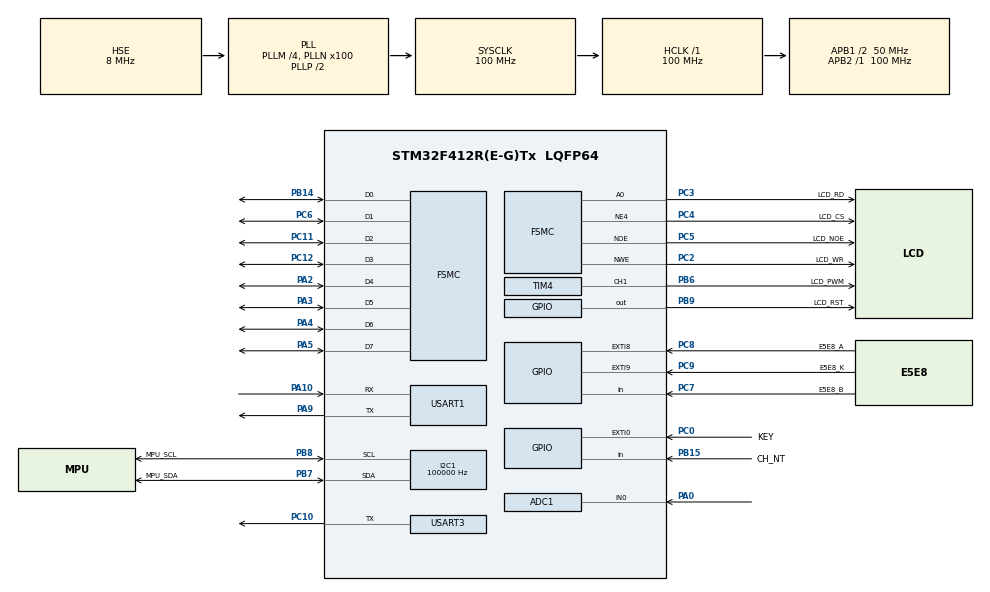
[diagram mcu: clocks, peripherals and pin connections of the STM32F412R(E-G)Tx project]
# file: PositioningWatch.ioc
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ADC1.Channel-0\#ChannelRegularConversion=ADC_CHANNEL_0
ADC1.NbrOfConversion=1
ADC1.NbrOfConversionFlag=1
ADC1.Rank-0\#ChannelRegularConversion=1
ADC1.SamplingTime-0\#ChannelRegularConversion=ADC_SAMPLETIME_3CYCLES
ADC1.master=1
FREERTOS.Tasks01=defaultTask,24,128,StartDefaultTask,Default,NULL,Dynamic,NULL,NULL;SysStatusTask,24,256,SysStatusTask_Func,As weak,NULL,Dynamic,NULL,NULL;NordicComTask,8,256,NordicTask,Default,NULL,Dynamic,NULL,NULL;LittleVGLTask,40,2048,LittleVGLTaskFunc,Default,NULL,Dynamic,NULL,NULL;KeyGetTask,40,128,KeyGetTaskFunc,Default,NULL,Dynamic,NULL,NULL;MPU6050Test,8,256,MPU6050TestFunc,Default,NULL,Dynamic,NULL,NULL
FREERTOS.configENABLE_FPU=1
FREERTOS.configIDLE_SHOULD_YIELD=1
FREERTOS.configLIBRARY_MAX_SYSCALL_INTERRUPT_PRIORITY=5
FREERTOS.configTICK_RATE_HZ=250
FREERTOS.configUSE_PREEMPTION=0
FSMC.AddressSetupTime1=0
FSMC.BusTurnAroundDuration1=2
FSMC.DataSetupTime1=2
FSMC.ExtendedMode1=FSMC_EXTENDED_MODE_DISABLE
I2C1.ClockSpeed=100000
I2C1.I2C_Mode=I2C_Standard
I2C1.NoStretchMode=I2C_NOSTRETCH_DISABLE
Mcu.Family=STM32F4
Mcu.Name=STM32F412R(E-G)Tx
Mcu.Package=LQFP64
NVIC.EXTI0_IRQn=true\:5\:0\:false\:false\:true\:true\:true\:true
NVIC.EXTI9_5_IRQn=true\:5\:0\:false\:false\:true\:true\:true\:true
NVIC.PriorityGroup=NVIC_PRIORITYGROUP_4
NVIC.TIM1_UP_TIM10_IRQn=true\:4\:0\:true\:false\:true\:false\:false\:true
NVIC.TimeBase=TIM1_UP_TIM10_IRQn
NVIC.TimeBaseIP=TIM1
NVIC.USART1_IRQn=true\:5\:0\:false\:false\:true\:true\:true\:true
PA0.Signal=ADCx_IN0
PA10.Mode=Asynchronous
PA10.Signal=USART1_RX
PA13.Mode=Serial_Wire
PA13.Signal=SYS_JTMS-SWDIO
PA14.Mode=Serial_Wire
PA14.Signal=SYS_JTCK-SWCLK
PA2.Mode=8b-d1
PA2.Signal=FSMC_D4
PA3.Mode=8b-d1
PA3.Signal=FSMC_D5
PA4.Mode=8b-d1
PA4.Signal=FSMC_D6
PA5.Mode=8b-d1
PA5.Signal=FSMC_D7
PA9.Mode=Asynchronous
PA9.Signal=USART1_TX
PB14.Mode=8b-d1
PB14.Signal=FSMC_D0
PB15.GPIO_Label=CH_NT
PB15.Signal=GPIO_Input
PB6.GPIO_Label=LCD_PWM
PB6.Signal=S_TIM4_CH1
PB7.GPIO_Label=MPU_SDA
PB7.GPIO_Pu=GPIO_PULLUP
PB7.Mode=I2C
PB7.Signal=I2C1_SDA
PB8.GPIO_Label=MPU_SCL
PB8.GPIO_Pu=GPIO_PULLUP
PB8.Mode=I2C
PB8.Signal=I2C1_SCL
PB9.GPIO_Label=LCD_RST
PB9.GPIO_PuPd=GPIO_PULLUP
PB9.GPIO_Speed=GPIO_SPEED_FREQ_HIGH
PB9.PinState=GPIO_PIN_SET
PB9.Signal=GPIO_Output
PC0.GPIO_Label=KEY
PC0.GPIO_ModeDefaultEXTI=GPIO_MODE_IT_FALLING
PC0.GPIO_PuPd=GPIO_PULLUP
PC0.Signal=GPXTI0
PC10.Mode=Half_duplex(single_wire_mode)
PC10.Signal=USART3_TX
PC11.Mode=8b-d1
PC11.Signal=FSMC_D2
PC12.Mode=8b-d1
PC12.Signal=FSMC_D3
PC14-OSC32_IN.Mode=LSE-External-Oscillator
PC14-OSC32_IN.Signal=RCC_OSC32_IN
PC15-OSC32_OUT.Mode=LSE-External-Oscillator
PC15-OSC32_OUT.Signal=RCC_OSC32_OUT
PC2.GPIO_Label=LCD_WR
PC2.Mode=Lcd1
PC2.Signal=FSMC_NWE
PC3.GPIO_Label=LCD_RD
PC3.Mode=A0_1
PC3.Signal=FSMC_A0
PC4.GPIO_Label=LCD_CS
PC4.Mode=NorPsramChipSelect4_1
PC4.Signal=FSMC_NE4
PC5.GPIO_Label=LCD_NOE
PC5.Mode=Lcd1
PC5.Signal=FSMC_NOE
PC6.Mode=8b-d1
PC6.Signal=FSMC_D1
PC7.GPIO_Label=E5E8_B
PC7.GPIO_PuPd=GPIO_PULLUP
PC7.Signal=GPIO_Input
PC8.GPIO_Label=E5E8_A
PC8.GPIO_ModeDefaultEXTI=GPIO_MODE_IT_FALLING
PC8.GPIO_PuPd=GPIO_PULLUP
PC8.Signal=GPXTI8
PC9.GPIO_Label=E5E8_K
PC9.GPIO_ModeDefaultEXTI=GPIO_MODE_IT_FALLING
PC9.GPIO_PuPd=GPIO_PULLUP
PC9.Signal=GPXTI9
PH0\ -\ OSC_IN.Mode=HSE-External-Oscillator
PH0\ -\ OSC_IN.Signal=RCC_OSC_IN
PH1\ -\ OSC_OUT.Mode=HSE-External-Oscillator
PH1\ -\ OSC_OUT.Signal=RCC_OSC_OUT
ProjectManager.HeapSize=0x1000
ProjectManager.StackSize=0x1000
ProjectManager.TargetToolchain=MDK-ARM V5.32
RCC.AHBFreq_Value=100000000
RCC.APB1CLKDivider=RCC_HCLK_DIV2
RCC.APB1Freq_Value=50000000
RCC.APB1TimFreq_Value=100000000
RCC.APB2Freq_Value=100000000
RCC.APB2TimFreq_Value=100000000
RCC.CortexFreq_Value=100000000
RCC.HCLKFreq_Value=100000000
RCC.HSE_VALUE=8000000
RCC.PLLM=4
RCC.PLLN=100
RCC.PLLSourceVirtual=RCC_PLLSOURCE_HSE
RCC.SYSCLKFreq_VALUE=100000000
RCC.SYSCLKSource=RCC_SYSCLKSOURCE_PLLCLK
RCC.USBFreq_Value=100000000
RCC.VCOOutputFreq_Value=200000000
SH.ADCx_IN0.0=ADC1_IN0,IN0
SH.S_TIM4_CH1.0=TIM4_CH1,PWM Generation1 CH1
TIM4.AutoReloadPreload=TIM_AUTORELOAD_PRELOAD_DISABLE
TIM4.Channel-PWM\ Generation1\ CH1=TIM_CHANNEL_1
TIM4.OC1Preload_PWM=DISABLE
TIM4.Period=499
TIM4.Prescaler=99
TIM4.Pulse-PWM\ Generation1\ CH1=249
USART1.VirtualMode=VM_ASYNC
USART3.BaudRate=115200
USART3.Mode=MODE_TX
USART3.VirtualMode=VM_ASYNC
VP_FREERTOS_VS_CMSIS_V2.Mode=CMSIS_V2
VP_SYS_VS_tim1.Mode=TIM1
board=custom

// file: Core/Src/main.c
/* USER CODE BEGIN Header */
/**
  ******************************************************************************
  * @file           : main.c
  * @brief          : Main program body
  ******************************************************************************
  * @attention
  *
  * Copyright (c) 2022 STMicroelectronics.
  * All rights reserved.
  *
  * This software is licensed under terms that can be found in the LICENSE file
  * in the root directory of this software component.
  * If no LICENSE file comes with this software, it is provided AS-IS.
  *
  ******************************************************************************
  */
/* USER CODE END Header */
#include "main.h"
#include "cmsis_os.h"
#include "adc.h"
#include "i2c.h"
#include "tim.h"
#include "usart.h"
#include "gpio.h"
#include "fsmc.h"

/* USER CODE BEGIN Includes */
#include "stdio.h"
#include "lcd.h"
#include "lvgl.h"
#include "mpu6050.h"
/* USER CODE END Includes */

void SystemClock_Config(void);
void MX_FREERTOS_Init(void);

int main(void)
{

    /* MCU Configuration--------------------------------------------------------*/

    /* Reset of all peripherals, Initializes the Flash interface and the Systick. */
    HAL_Init();

    /* Configure the system clock */
    SystemClock_Config();

    /* Initialize all configured peripherals */
    MX_GPIO_Init();
    MX_ADC1_Init();
    MX_USART3_UART_Init();
    MX_USART1_UART_Init();
    MX_FSMC_Init();
    MX_TIM4_Init();
    MX_I2C1_Init();
    /* USER CODE BEGIN 2 */

    HAL_Delay(10);
    uart_data.len = 0;
    UART_Start_Receive_IT(&huart1, uart_data.data, 1);
    HAL_TIM_PWM_Start(&htim4, TIM_CHANNEL_1);
    HAL_Delay(100);
    LCD_Init();

    /* USER CODE END 2 */

    /* Init scheduler */
    osKernelInitialize();  /* Call init function for freertos objects (in freertos.c) */
    MX_FREERTOS_Init();
    /* Start scheduler */
    osKernelStart();

    /* We should never get here as control is now taken by the scheduler */
    /* Infinite loop */
    while (1)
    {

    }
}

void SystemClock_Config(void)
{
    RCC_OscInitTypeDef RCC_OscInitStruct = {0};
    RCC_ClkInitTypeDef RCC_ClkInitStruct = {0};

    /** Configure the main internal regulator output voltage
    */
    __HAL_RCC_PWR_CLK_ENABLE();
    __HAL_PWR_VOLTAGESCALING_CONFIG(PWR_REGULATOR_VOLTAGE_SCALE1);
    /** Initializes the RCC Oscillators according to the specified parameters
    * in the RCC_OscInitTypeDef structure.
    */
    RCC_OscInitStruct.OscillatorType = RCC_OSCILLATORTYPE_HSE;
    RCC_OscInitStruct.HSEState = RCC_HSE_ON;
    RCC_OscInitStruct.PLL.PLLState = RCC_PLL_ON;
    RCC_OscInitStruct.PLL.PLLSource = RCC_PLLSOURCE_HSE;
    RCC_OscInitStruct.PLL.PLLM = 4;
    RCC_OscInitStruct.PLL.PLLN = 100;
    RCC_OscInitStruct.PLL.PLLP = RCC_PLLP_DIV2;
    RCC_OscInitStruct.PLL.PLLQ = 2;
    RCC_OscInitStruct.PLL.PLLR = 2;
    if (HAL_RCC_OscConfig(&RCC_OscInitStruct) != HAL_OK)
    {
        Error_Handler();
    }
    /** Initializes the CPU, AHB and APB buses clocks
    */
    RCC_ClkInitStruct.ClockType = RCC_CLOCKTYPE_HCLK|RCC_CLOCKTYPE_SYSCLK
                                  |RCC_CLOCKTYPE_PCLK1|RCC_CLOCKTYPE_PCLK2;
    RCC_ClkInitStruct.SYSCLKSource = RCC_SYSCLKSOURCE_PLLCLK;
    RCC_ClkInitStruct.AHBCLKDivider = RCC_SYSCLK_DIV1;
    RCC_ClkInitStruct.APB1CLKDivider = RCC_HCLK_DIV2;
    RCC_ClkInitStruct.APB2CLKDivider = RCC_HCLK_DIV1;

    if (HAL_RCC_ClockConfig(&RCC_ClkInitStruct, FLASH_LATENCY_3) != HAL_OK)
    {
        Error_Handler();
    }
}

void HAL_TIM_PeriodElapsedCallback(TIM_HandleTypeDef *htim)
{
    if (htim->Instance == TIM1) {
        HAL_IncTick();
        lv_tick_inc(1);
    }
}

void Error_Handler(void)
{
    __disable_irq();
    while (1)
    {
    }
}

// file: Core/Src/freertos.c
/* USER CODE BEGIN Header */
/**
  ******************************************************************************
  * File Name          : freertos.c
  * Description        : Code for freertos applications
  ******************************************************************************
  * @attention
  *
  * Copyright (c) 2022 STMicroelectronics.
  * All rights reserved.
  *
  * This software is licensed under terms that can be found in the LICENSE file
  * in the root directory of this software component.
  * If no LICENSE file comes with this software, it is provided AS-IS.
  *
  ******************************************************************************
  */
/* USER CODE END Header */

#include "FreeRTOS.h"
#include "task.h"
#include "main.h"
#include "cmsis_os.h"

/* USER CODE BEGIN Includes */
#include "stdio.h"
#include "usart.h"
#include "adc.h"
#include "lcd.h"
#include "lvgl.h"
#include "lv_port_disp.h"
#include "demos/lv_demos.h"
#include "demos/widgets/lv_demo_widgets.h"
#include "semphr.h"
#include "key.h"
#include "lv_port_indev.h"
#include "mpu6050.h"
#include "stdlib.h"
#include "kalman_filter.h"
#include "other_function.h"
#include "math.h"
#include "fir_filter.h"
#include "my_gui.h"
/* USER CODE END Includes */

/* USER CODE BEGIN Variables */
extern SemaphoreHandle_t KeyPressedSemaphore;

/* USER CODE END Variables */
/* Definitions for defaultTask */
osThreadId_t defaultTaskHandle;
const osThreadAttr_t defaultTask_attributes = {
    .name = "defaultTask",
    .stack_size = 128 * 4,
    .priority = (osPriority_t) osPriorityNormal,
};
/* Definitions for SysStatusTask */
osThreadId_t SysStatusTaskHandle;
const osThreadAttr_t SysStatusTask_attributes = {
    .name = "SysStatusTask",
    .stack_size = 256 * 4,
    .priority = (osPriority_t) osPriorityNormal,
};
/* Definitions for NordicComTask */
osThreadId_t NordicComTaskHandle;
const osThreadAttr_t NordicComTask_attributes = {
    .name = "NordicComTask",
    .stack_size = 256 * 4,
    .priority = (osPriority_t) osPriorityLow,
};
/* Definitions for LittleVGLTask */
osThreadId_t LittleVGLTaskHandle;
const osThreadAttr_t LittleVGLTask_attributes = {
    .name = "LittleVGLTask",
    .stack_size = 2048 * 4,
    .priority = (osPriority_t) osPriorityHigh,
};
/* Definitions for KeyGetTask */
osThreadId_t KeyGetTaskHandle;
const osThreadAttr_t KeyGetTask_attributes = {
    .name = "KeyGetTask",
    .stack_size = 128 * 4,
    .priority = (osPriority_t) osPriorityHigh,
};
/* Definitions for MPU6050Test */
osThreadId_t MPU6050TestHandle;
const osThreadAttr_t MPU6050Test_attributes = {
    .name = "MPU6050Test",
    .stack_size = 256 * 4,
    .priority = (osPriority_t) osPriorityLow,
};

void StartDefaultTask(void *argument);
void SysStatusTask_Func(void *argument);
void NordicTask(void *argument);
void LittleVGLTaskFunc(void *argument);
void KeyGetTaskFunc(void *argument);
void MPU6050TestFunc(void *argument);

void MX_FREERTOS_Init(void); /* (MISRA C 2004 rule 8.1) */

void MX_FREERTOS_Init(void) {

    /* Create the thread(s) */
    /* creation of defaultTask */
    defaultTaskHandle = osThreadNew(StartDefaultTask, NULL, &defaultTask_attributes);

    /* creation of SysStatusTask */
    SysStatusTaskHandle = osThreadNew(SysStatusTask_Func, NULL, &SysStatusTask_attributes);

    /* creation of NordicComTask */
    NordicComTaskHandle = osThreadNew(NordicTask, NULL, &NordicComTask_attributes);

    /* creation of LittleVGLTask */
    LittleVGLTaskHandle = osThreadNew(LittleVGLTaskFunc, NULL, &LittleVGLTask_attributes);

    /* creation of KeyGetTask */
    KeyGetTaskHandle = osThreadNew(KeyGetTaskFunc, NULL, &KeyGetTask_attributes);

    /* creation of MPU6050Test */
    MPU6050TestHandle = osThreadNew(MPU6050TestFunc, NULL, &MPU6050Test_attributes);

}

void StartDefaultTask(void *argument)
{
    /* USER CODE BEGIN StartDefaultTask */
    /* Infinite loop */
    for(;;)
    {
        osDelay(100);
    }
    /* USER CODE END StartDefaultTask */
}

/* USER CODE BEGIN Header_SysStatusTask_Func */
uint8_t relu100(float in) {
    if (in > 100) {
        return 100;
    } else if (in < 0) {
        return 0;
    } else
    {
        return in;
    }
}
/**
* @brief Function implementing the SysStatusTask thread.
* @param argument: Not used
* @retval None
*/
/* USER CODE END Header_SysStatusTask_Func */
__weak void SysStatusTask_Func(void *argument)
{
    /* USER CODE BEGIN SysStatusTask_Func */
    uint8_t electicity;
    float voltage;
    /* Infinite loop */
    for(;;)
    {
        voltage = 2.0*adc_getvoltage();
        electicity = relu100((voltage-3.45)/0.0075);
        printf("current voltage %.2f\r\n", voltage);
        printf("electicity:%d\r\n", electicity);
        osDelay(FREERTOS_S(50));
    }
    /* USER CODE END SysStatusTask_Func */
}

void NordicTask(void *argument)
{
    /* USER CODE BEGIN NordicTask */
	static int rssi = 0;
    static uint16_t data_len;
	static float rssi_filter;
	static float distance = 0;
	static float angle1, angle2;
	static char* next_start;
	uint8_t ant_id;
	static float A[3] = {-48.4488, -56.4107, -51.4516};
    static float n[3] = {21.55, 21.494, 17.177};
	static uint8_t index2 = 0;
	float aod_filter_result = 0;

    /* Infinite loop */
	aod_fir_filter_init();

    for(;;)
    {
        if (uart_data.len > 0) {
			/* 判断是否有数据没接收完 */
			if (uart_data.data[uart_data.len-1] == '\n'){
				if (uart_data.data[uart_data.len-2] == '\r'){
					/* 清空数据缓冲 */
					data_len = uart_data.len;
					uart_data.len = 0;
					UART_Start_Receive_IT(&huart1, uart_data.data, 1);
					HAL_UART_Transmit(&huart3, (uint8_t *)uart_data.data, data_len, 1000);

					/* 循环接收数据到结束 */
					ant_id = get_rssi_aod_from_char((char*)uart_data.data, &next_start, &rssi, &angle1, &angle2, data_len);
					while (1){
						if (ant_id != 0) {
							rssi_filter = kalman_filter_rssi(rssi);
							distance = pow(10, (A[ant_id-1]-rssi_filter)/n[ant_id-1]);
							aod_filter_result = kalman_filter_aod(ant_id, angle1);
							set_rssi_data(ant_id, rssi_filter, distance);
							set_aod_data(ant_id, aod_filter_result, angle1);
						}
						else {
							break;
						}

						ant_id = get_rssi_aod_from_char(NULL, &next_start, &rssi, &angle1, &angle2, data_len);
					}
				}
			}

//			data_len = uart_data.len;
//			uart_data.len = 0;
//			UART_Start_Receive_IT(&huart1, uart_data.data, 1);
//			HAL_UART_Transmit(&huart3, (uint8_t *)uart_data.data, data_len, 1000);

			/* 处理完数据 */
        }
        osDelay(FREERTOS_MS(40));
    }
    /* USER CODE END NordicTask */
}

void LittleVGLTaskFunc(void *argument)
{
    /* USER CODE BEGIN LittleVGLTaskFunc */
    lv_init();
    lv_port_disp_init();
    lv_port_indev_init();
    //lv_demo_keypad_encoder();
	my_gui_start();
    /* Infinite loop */
    for(;;)
    {
        lv_timer_handler();
        osDelay(FREERTOS_MS(32));
    }
    /* USER CODE END LittleVGLTaskFunc */
}

void KeyGetTaskFunc(void *argument)
{
    /* USER CODE BEGIN KeyGetTaskFunc */
    KeyPressedSemaphore = xSemaphoreCreateBinary();
    /* Infinite loop */
    for(;;)
    {
        xSemaphoreTake(KeyPressedSemaphore, portMAX_DELAY);
        osDelay(FREERTOS_MS(4));
        /* 根据输入的按键进行判断 */
        if (whitch_key_input == KEY_Pin) {
            if (HAL_GPIO_ReadPin(KEY_GPIO_Port, KEY_Pin) == 0) {
                key_status = 1;
                printf("key pressed\r\n");
            }
        } else if (whitch_key_input == E5E8_K_Pin) {
            if (HAL_GPIO_ReadPin(E5E8_K_GPIO_Port, E5E8_K_Pin) == 0) {
                e5e8_status.key = 1;
                encoder_handler(0, 1);
                printf("e5e8 key pressed\r\n");
            }
        } else if (whitch_key_input == E5E8_A_Pin) {
            if (HAL_GPIO_ReadPin(E5E8_A_GPIO_Port, E5E8_A_Pin) == 0) {
                /* 根据另一个引脚的高低电平判断是往哪边旋转 */
                if (HAL_GPIO_ReadPin(E5E8_B_GPIO_Port, E5E8_B_Pin) == 1) {
                    e5e8_status.left = 1;
                    encoder_handler(1, 0);
                    printf("e5e8 turn left\r\n");
                } else {
                    e5e8_status.right = 1;
                    encoder_handler(-1, 0);
                    printf("e5e8 turn right\r\n");
                }
            }
        }
    }
    /* USER CODE END KeyGetTaskFunc */
}

void MPU6050TestFunc(void *argument)
{
    /* USER CODE BEGIN MPU6050TestFunc */
    static uint8_t remain_num = 0;
	static unsigned long time_stamp = 0;
	static short accel[3];
	static float euler_angle[3];			//欧拉角
    static short temp;						//温度
	static float displacement[3] = {0};
	int ret;

	static unsigned long step_count = 0;

	mpu6050_Init();
    osDelay(8);
    while(mpu_dmp_init())
    {
        printf("MPU6050 Error\r\n");
        osDelay(2000);
    }
    printf("mpu6050 init succeed!\r\n");
    /* Infinite loop */
    for(;;)
    {
		/*********** 处理完fifo数据 ***********/
//		do {
//			i = my_mpu_dmp_get_data(euler_angle, accel, &time_stamp, &remain_num);
//			if (i==0) {
//				get_displacement_data(accel, euler_angle, displacement);
//			}
//			else {
//				printf("mpu6050 data get failed (-%d)\r\n", i);
//				//osDelay(FREERTOS_MS(1000));
//			}
//		}while(remain_num);
//		printf("%f, %f, %f\r\n", displacement[0],displacement[1],displacement[2]);

		ret = dmp_get_pedometer_step_count(&step_count);
		if (ret) {
			printf("mpu6050 data get failed (-%d)\r\n", ret);
		}
		else {
			imu_set_step(step_count);
		}

        osDelay(FREERTOS_S(5));
    }
    /* USER CODE END MPU6050TestFunc */
}
